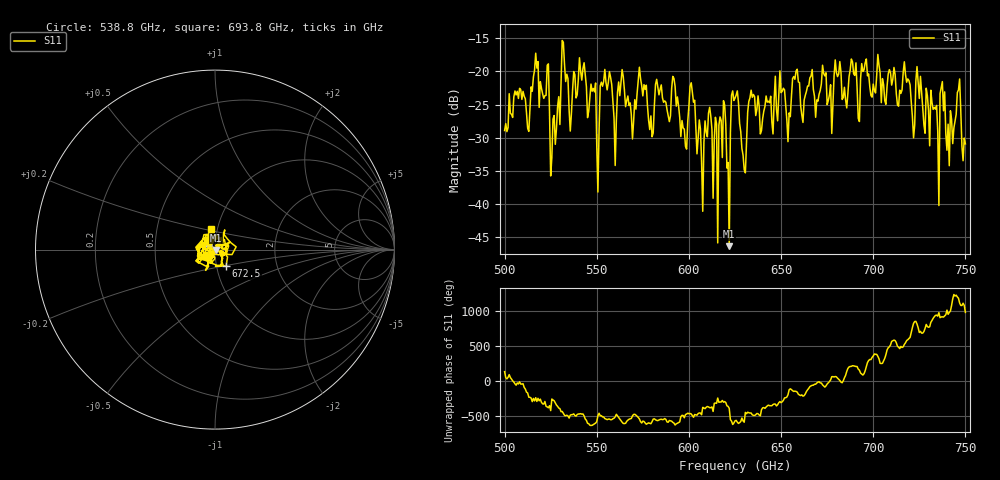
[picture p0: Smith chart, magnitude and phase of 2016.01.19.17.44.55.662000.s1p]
!Created with skrf (http://scikit-rf.org).
# GHz S RI R 50.0
!freq ReS11 ImS11
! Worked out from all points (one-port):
!   401 points, 500 GHz to 750 GHz, reference 50 ohm
!   lowest |S11| = -46.4 dB at 621.9 GHz (marker M1), VSWR 1.01, Z = 50.4 - j0.272 ohm
!   |S11| at or under -10 dB: start of sweep to end of sweep
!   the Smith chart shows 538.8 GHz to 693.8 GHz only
!   S11 on the Smith chart (normalised r, x): 538.8 GHz: 0.90, -0.06; 672.5 GHz: 1.11, -0.21; 693.8 GHz: 0.94, +0.21
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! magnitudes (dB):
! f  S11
! 500 GHz  -28.9
! 512.5 GHz  -28.6
! 516.9 GHz  -17.2
! 526.2 GHz  -27.2
! 531.2 GHz  -15.3
! 538.8 GHz  -24.0
! 548.1 GHz  -22.6
! 550 GHz  -31.3
! 553.1 GHz  -22.2
! 560 GHz  -34.2
! 562.5 GHz  -23.7
! 593.8 GHz  -23.9
! 614.4 GHz  -26.9
! 618.1 GHz  -33.0
! 621.9 GHz  -46.4
! 625 GHz  -24.0
! 630 GHz  -34.8
! 633.8 GHz  -22.8
! 656.2 GHz  -21.1
! 672.5 GHz  -19.1
! 687.5 GHz  -19.8
! 693.8 GHz  -18.8
! 718.8 GHz  -21.1
! 734.4 GHz  -25.1
! 737.5 GHz  -21.5
! 740.6 GHz  -28.0
! 746.2 GHz  -22.8
! 750 GHz  -31.0
